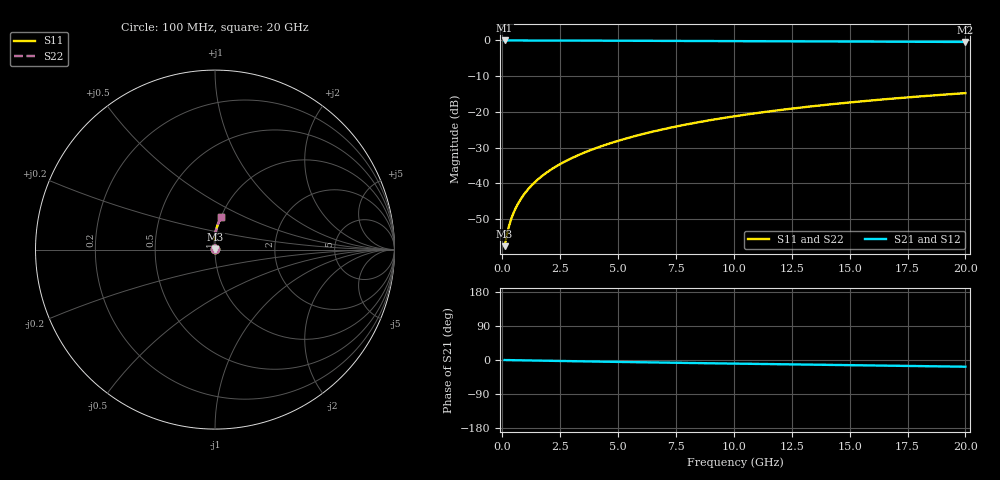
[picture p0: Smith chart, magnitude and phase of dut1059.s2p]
! Touchstone file exported from HFSS 2024.1.0
!  File:  C:/UserFiles/LocalFiles/RDL_TSV_Batchsim/temp_RDL_top_1059_1780044767.aedt
!  Generated:  04:55:06 PM May 29, 2026
!  Design:  RDL_top
!  Project:  temp_RDL_top_1059_1780044767
!  Setup:  Setup1
!  Solution:  Sweep
! Variables:
!  dtsv = 10.80580581um
!  hbump = 3um
!  htsv = 89.68um
!  ldown = 100um
!  lrdl = 216.85um
!  p = 40
!  p1 = 56.28um
!  rhole = 1um
!  t = 450um
!  tdown = 3.915915916um
!  trdl = 3.53um
!  wdown = 15.38538539um
!  wrdl = 27.62um
# GHz S MA R 50.000000
! Terminal data exported
! Port[1] = Box2_T1
! Port[2] = Box2_T2
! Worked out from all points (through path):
!   200 points, 100 MHz to 20 GHz, reference 50 ohm
!   highest |S21| = -0.01 dB at 100 MHz (marker M1); lowest = -0.4 dB at 20 GHz (marker M2)
!   group delay of S21, straight-line fit = 2.42 ps
!   lowest |S11| = -57.6 dB at 100 MHz (marker M3), VSWR 1.00, Z = 50.1 + j0.0813 ohm
!   |S11| at or under -10 dB: start of sweep to end of sweep
!   |S22| runs from -57.6 to -14.8 dB; largest |S21 - S12| = 2.6e-15
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0.1  0.001315 38.1  0.999 -0.1  0.999 -0.1  0.001315 38.1
! Gamma 0 0 0 0
! Port Impedance 50 0 50 0
0.2  0.001923 55.4  0.9989 -0.2  0.9989 -0.2  0.001923 55.4
0.3  0.002586 63.8  0.9988 -0.3  0.9988 -0.3  0.002586 63.8
0.4  0.003258 68.9  0.9987 -0.4  0.9987 -0.4  0.003258 68.9
0.5  0.003936 72.5  0.9987 -0.5  0.9987 -0.5  0.003936 72.5
0.6  0.004622 75.1  0.9986 -0.6  0.9986 -0.6  0.004622 75.1
0.8  0.006013 78.8  0.9984 -0.8  0.9984 -0.8  0.006013 78.8
1.1  0.008141 82.3  0.9982 -1.2  0.9982 -1.2  0.008141 82.3
1.5  0.01104 85.2  0.9978 -1.6  0.9978 -1.6  0.01104 85.2
1.8  0.01326 86.6  0.9974 -1.9  0.9974 -1.9  0.01326 86.6
2.1  0.01551 87.7  0.9969 -2.2  0.9969 -2.2  0.01551 87.7
2.7  0.02013 89.3  0.9959 -2.8  0.9959 -2.8  0.02013 89.3
3.5  0.02653 90.7  0.9942 -3.6  0.9942 -3.6  0.02653 90.7
4.2  0.03236 91.4  0.9925 -4.3  0.9925 -4.3  0.03236 91.4
5  0.03927 91.8  0.9904 -5.1  0.9904 -5.1  0.03927 91.8
5.9  0.04733 91.9  0.9879 -5.9  0.9879 -5.9  0.04734 91.9
6.8  0.05565 91.6  0.9854 -6.7  0.9854 -6.7  0.05566 91.6
8.4  0.07088 90.7  0.981 -8.1  0.981 -8.1  0.07089 90.7
10.1  0.08742 89.2  0.9764 -9.6  0.9764 -9.6  0.08743 89.2
13.4  0.1198 85.9  0.968 -12.3  0.968 -12.3  0.1198 85.9
16.7  0.1517 82.5  0.9599 -15.0  0.9599 -15.0  0.1518 82.5
20  0.1828 79.1  0.9519 -17.7  0.9519 -17.7  0.1829 79.1
